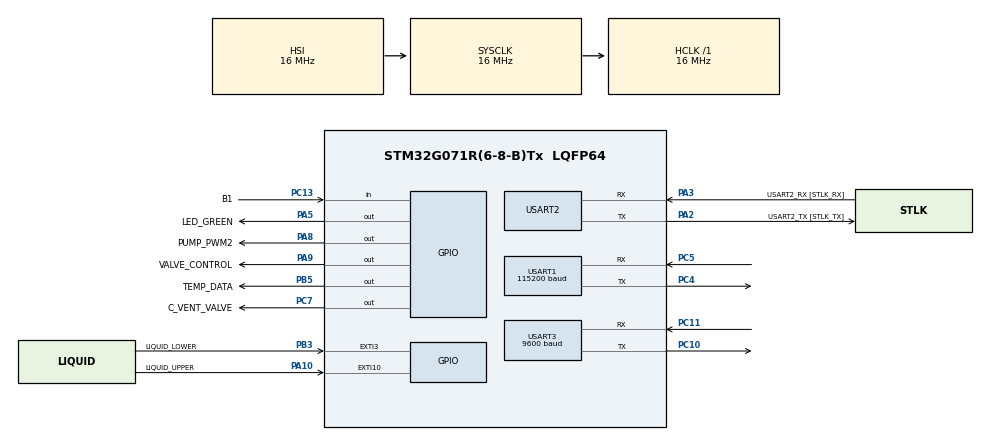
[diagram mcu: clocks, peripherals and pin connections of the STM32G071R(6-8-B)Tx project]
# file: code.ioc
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Mcu.Family=STM32G0
Mcu.Name=STM32G071R(6-8-B)Tx
Mcu.Package=LQFP64
NVIC.EXTI2_3_IRQn=true\:1\:0\:false\:false\:true\:true\:true\:true
NVIC.EXTI4_15_IRQn=true\:1\:0\:false\:false\:true\:true\:true\:true
NVIC.USART1_IRQn=true\:1\:0\:false\:false\:true\:true\:true\:true
NVIC.USART2_IRQn=true\:1\:0\:false\:false\:true\:true\:true\:true
NVIC.USART3_4_LPUART1_IRQn=true\:1\:0\:false\:false\:true\:true\:true\:true
PA13.GPIO_Label=TMS
PA13.Mode=Serial_Wire
PA13.Signal=SYS_SWDIO
PA14-BOOT0.GPIO_Label=TCK
PA14-BOOT0.Mode=Serial_Wire
PA14-BOOT0.Signal=SYS_SWCLK
PA2.GPIO_Label=USART2_TX [STLK_TX]
PA2.GPIO_PuPd=GPIO_PULLUP
PA2.Mode=Asynchronous
PA2.Signal=USART2_TX
PA3.GPIO_Label=USART2_RX [STLK_RX]
PA3.GPIO_PuPd=GPIO_PULLUP
PA3.Mode=Asynchronous
PA3.Signal=USART2_RX
PA5.GPIO_Label=LED_GREEN
PA5.GPIO_Speed=GPIO_SPEED_FREQ_HIGH
PA5.Signal=GPIO_Output
PA8.GPIO_Label=PUMP_PWM2
PA8.PinState=GPIO_PIN_RESET
PA8.Signal=GPIO_Output
PA9.GPIO_Label=VALVE_CONTROL
PA9.PinState=GPIO_PIN_RESET
PA9.Signal=GPIO_Output
PB5.GPIO_Label=TEMP_DATA
PB5.GPIO_ModeDefaultOutputPP=GPIO_MODE_OUTPUT_OD
PB5.GPIO_PuPd=GPIO_PULLUP
PB5.GPIO_Speed=GPIO_SPEED_FREQ_LOW
PB5.PinState=GPIO_PIN_SET
PB5.Signal=GPIO_Output
PC13.GPIO_Label=B1
PC13.GPIO_PuPd=GPIO_PULLUP
PC13.Signal=GPIO_Input
PC14-OSC32_IN\ (PC14).Mode=LSE-External-Oscillator
PC14-OSC32_IN\ (PC14).Signal=RCC_OSC32_IN
PC15-OSC32_OUT\ (PC15).Mode=LSE-External-Oscillator
PC15-OSC32_OUT\ (PC15).Signal=RCC_OSC32_OUT
PF0-OSC_IN\ (PF0).GPIO_Label=MCO
PF0-OSC_IN\ (PF0).Mode=HSE-External-Clock-Source
PF0-OSC_IN\ (PF0).Signal=RCC_OSC_IN
PC4.Mode=Asynchronous
PC4.Signal=USART1_TX
PC4.GPIO_PuPd=GPIO_PULLUP
PC5.Mode=Asynchronous
PC5.Signal=USART1_RX
PC5.GPIO_PuPd=GPIO_PULLUP
PC10.Mode=Asynchronous
PC10.Signal=USART3_TX
PC10.GPIO_PuPd=GPIO_PULLUP
PC11.Mode=Asynchronous
PC11.Signal=USART3_RX
PC11.GPIO_PuPd=GPIO_PULLUP
ProjectManager.HeapSize=0x200
ProjectManager.StackSize=0x400
ProjectManager.TargetToolchain=CMake
RCC.AHBFreq_Value=16000000
RCC.CortexFreq_Value=16000000
RCC.EXTERNAL_CLOCK_VALUE=12288000
RCC.HCLKFreq_Value=16000000
RCC.HSE_VALUE=8000000
RCC.HSI_VALUE=16000000
RCC.SYSCLKFreq_VALUE=16000000
RCC.VCOOutputFreq_Value=128000000
USART1.VirtualMode-Asynchronous=VM_ASYNC
USART1.BaudRate=115200
USART1.WordLength=WORDLENGTH_8B
USART1.StopBits=STOPBITS_1
USART1.Parity=PARITY_NONE
USART1.HwFlowCtl=HWCONTROL_NONE
USART2.VirtualMode-Asynchronous=VM_ASYNC
USART3.VirtualMode-Asynchronous=VM_ASYNC
USART3.BaudRate=9600
USART3.WordLength=WORDLENGTH_8B
USART3.StopBits=STOPBITS_1
USART3.Parity=PARITY_NONE
USART3.HwFlowCtl=HWCONTROL_NONE
board=NUCLEO-G071RB
PC7.GPIO_Label=C_VENT_VALVE
PC7.PinState=GPIO_PIN_RESET
PC7.Signal=GPIO_Output
PA10.GPIO_Label=LIQUID_UPPER
PA10.GPIO_PuPd=GPIO_PULLUP
PA10.GPIO_ModeDefaultEXTI=GPIO_MODE_IT_RISING_FALLING
PA10.Signal=GPXTI10
PB3.GPIO_Label=LIQUID_LOWER
PB3.GPIO_PuPd=GPIO_PULLUP
PB3.GPIO_ModeDefaultEXTI=GPIO_MODE_IT_RISING_FALLING
PB3.Signal=GPXTI3

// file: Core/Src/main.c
/* USER CODE BEGIN Header */
/**
 ******************************************************************************
 * @file           : main.c
 * @brief          : Main program body
 ******************************************************************************
 * @attention
 *
 * Copyright (c) 2026 STMicroelectronics.
 * All rights reserved.
 *
 * This software is licensed under terms that can be found in the LICENSE file
 * in the root directory of this software component.
 * If no LICENSE file comes with this software, it is provided AS-IS.
 *
 ******************************************************************************
 */
/* USER CODE END Header */
#include "main.h"
#include "gpio.h"
#include "usart.h"

/* USER CODE BEGIN Includes */
#include <stdio.h>
#include "esp_network.h"
#include "hmi_screen.h"
#include "liquid_measurement.h"
#ifdef HMI_SERIAL_BRIDGE
#include "hmi_serial_bridge.h"
#endif

/* USER CODE END Includes */

void SystemClock_Config(void);

/* USER CODE BEGIN 0 */
static LiquidMeasurement liquid;
static volatile uint8_t liquid_ready;

static void RecordLiquidEdge(uint16_t pin) {
  if (!liquid_ready) return;
  if (pin == LIQUID_UPPER_Pin)
    LiquidMeasurement_RecordEdge(&liquid, LIQUID_UPPER,
        HAL_GPIO_ReadPin(LIQUID_UPPER_GPIO_Port, pin) == GPIO_PIN_RESET, HAL_GetTick());
  else if (pin == LIQUID_LOWER_Pin)
    LiquidMeasurement_RecordEdge(&liquid, LIQUID_LOWER,
        HAL_GPIO_ReadPin(LIQUID_LOWER_GPIO_Port, pin) == GPIO_PIN_RESET, HAL_GetTick());
}

/* 上下沿同时挂起时读取真实电平，避免回调顺序留下错误的最终液位。 */
void HAL_GPIO_EXTI_Rising_Callback(uint16_t pin) { RecordLiquidEdge(pin); }
void HAL_GPIO_EXTI_Falling_Callback(uint16_t pin) { RecordLiquidEdge(pin); }

#if !defined(HMI_SERIAL_BRIDGE) && !defined(HMI_CONNECTION_TEST)
static void LiquidControl_Init(void) {
  const uint32_t interrupt_state = __get_PRIMASK();
  __disable_irq();
  LiquidMeasurement_Init(&liquid, HAL_GetTick(),
      HAL_GPIO_ReadPin(LIQUID_UPPER_GPIO_Port, LIQUID_UPPER_Pin) == GPIO_PIN_RESET,
      HAL_GPIO_ReadPin(LIQUID_LOWER_GPIO_Port, LIQUID_LOWER_Pin) == GPIO_PIN_RESET,
      HAL_GPIO_ReadPin(B1_GPIO_Port, B1_Pin) == GPIO_PIN_RESET);
  PumpValve_SetRunning(liquid.pump);
  liquid_ready = 1U;
  if (!interrupt_state) __enable_irq();
  HMI_Screen_SetMeasurement(liquid.stage, liquid.error, liquid.result_valid, liquid.result_ms);
  HMI_Screen_SetLiquidStatus(liquid.levels[0].stable, liquid.levels[1].stable,
                            liquid.upper_triggered, liquid.lower_triggered);
  ESP_Network_SetMeasurement(&liquid);
  char message[64];
  const int length = snprintf(message, sizeof(message), "Liquid: ready; upper=%u lower=%u\r\n",
                               liquid.levels[0].stable, liquid.levels[1].stable);
  if (length > 0) HAL_UART_Transmit(&huart2, (const uint8_t *)message, (uint16_t)length, 20U);
}

static void LiquidControl_Poll(void) {
  const LiquidStage previous_stage = liquid.stage;
  const LiquidError previous_error = liquid.error;
  const uint8_t previous_upper = liquid.levels[0].stable;
  const uint8_t previous_lower = liquid.levels[1].stable;
  const uint32_t interrupt_state = __get_PRIMASK();
  /* 时间快照与队列消费保持一致，防止新边沿时间晚于本轮 now。 */
  __disable_irq();
  const uint32_t now = HAL_GetTick();
  /* 先响应中止，避免按键恰好在完成时被解释为启动下一轮。 */
  LiquidMeasurement_Control(&liquid,
      HAL_GPIO_ReadPin(B1_GPIO_Port, B1_Pin) == GPIO_PIN_RESET,
      HMI_Screen_TakeRequests(), now);
  LiquidMeasurement_Poll(&liquid, now);
  /* 先落实泵阀状态，再进行串口、屏幕及网络处理。 */
  PumpValve_SetRunning(liquid.pump);
  HAL_GPIO_WritePin(LED_GREEN_GPIO_Port, LED_GREEN_Pin,
                    liquid.pump ? GPIO_PIN_SET : GPIO_PIN_RESET);
  if (!interrupt_state) __enable_irq();
  ESP_Network_SetMeasurementActive(LiquidMeasurement_IsActive(&liquid));
  static uint32_t last_timer_display;
  const uint8_t changed = previous_stage != liquid.stage || previous_error != liquid.error ||
      previous_upper != liquid.levels[0].stable || previous_lower != liquid.levels[1].stable;
  if (changed) {
    ESP_Network_SetMeasurement(&liquid);
    HMI_Screen_SetLiquidStatus(liquid.levels[0].stable, liquid.levels[1].stable,
                              liquid.upper_triggered, liquid.lower_triggered);
  }
  if (changed || (liquid.stage == LIQUID_TIMING && now - last_timer_display >= 500U)) {
    ESP_Network_SetPump(liquid.pump);
    HMI_Screen_SetPump(liquid.pump);
    HMI_Screen_SetMeasurement(liquid.stage, liquid.error, liquid.result_valid,
        liquid.stage == LIQUID_TIMING ? now - liquid.start_time : liquid.result_ms);
    last_timer_display = now;
  }
  if (previous_stage != liquid.stage || previous_error != liquid.error ||
      previous_upper != liquid.levels[0].stable || previous_lower != liquid.levels[1].stable) {
    static const char *const stages[] = {
      "idle", "suction", "extra_suction", "draining", "timing", "complete", "aborted", "fault"
    };
    static const char *const errors[] = {
      "none", "upper_wet", "invalid_order", "edge_overflow", "suction_timeout",
      "upper_timeout", "lower_timeout", "unstable_input"
    };
    char message[160];
    const int length = snprintf(message, sizeof(message),
        "Liquid: %s; upper=%u lower=%u; error=%s; result=%s%lu.%03lu s\r\n",
        stages[liquid.stage], liquid.levels[0].stable, liquid.levels[1].stable,
        errors[liquid.error], liquid.result_valid ? "" : "invalid:",
        (unsigned long)(liquid.result_ms / 1000U), (unsigned long)(liquid.result_ms % 1000U));
    if (length > 0) HAL_UART_Transmit(&huart2, (const uint8_t *)message,
                                     (uint16_t)length, 20U);
  }
}
#endif

/* 使用 TIM3 生成稳定的 1 MHz 微秒计时，不占用 GPIO 引脚。 */
static void MicrosecondTimer_Init(void) {
  __HAL_RCC_TIM3_CLK_ENABLE();
  TIM3->PSC = (HAL_RCC_GetPCLK1Freq() / 1000000U) - 1U;
  TIM3->ARR = 0xFFFFU;
  TIM3->EGR = TIM_EGR_UG;
  TIM3->CR1 = TIM_CR1_CEN;
}

static void DelayUs(uint32_t microseconds) {
  const uint16_t start = (uint16_t)TIM3->CNT;

  while ((uint16_t)((uint16_t)TIM3->CNT - start) < microseconds) {
  }
}

static uint8_t DS18B20_Reset(void) {
  const uint32_t interrupt_state = __get_PRIMASK();
  uint8_t detected;

  __disable_irq();
  TEMP_DATA_GPIO_Port->BSRR = (uint32_t)TEMP_DATA_Pin << 16U;
  DelayUs(500);
  TEMP_DATA_GPIO_Port->BSRR = TEMP_DATA_Pin;
  DelayUs(65);
  detected = ((TEMP_DATA_GPIO_Port->IDR & TEMP_DATA_Pin) == 0U);
  if (interrupt_state == 0U) {
    __enable_irq();
  }
  /* 恢复等待允许串口中断，复位采样时序仍保持不变。 */
  DelayUs(430);

  return detected;
}

static void DS18B20_WriteBit(uint8_t bit) {
  const uint32_t interrupt_state = __get_PRIMASK();

  __disable_irq();
  TEMP_DATA_GPIO_Port->BSRR = (uint32_t)TEMP_DATA_Pin << 16U;
  if (bit != 0U) {
    DelayUs(6);
    TEMP_DATA_GPIO_Port->BSRR = TEMP_DATA_Pin;
    DelayUs(64);
  } else {
    DelayUs(60);
    TEMP_DATA_GPIO_Port->BSRR = TEMP_DATA_Pin;
    DelayUs(10);
  }
  if (interrupt_state == 0U) {
    __enable_irq();
  }
}

static uint8_t DS18B20_ReadBit(void) {
  const uint32_t interrupt_state = __get_PRIMASK();
  uint8_t bit;

  __disable_irq();
  TEMP_DATA_GPIO_Port->BSRR = (uint32_t)TEMP_DATA_Pin << 16U;
  DelayUs(3);
  TEMP_DATA_GPIO_Port->BSRR = TEMP_DATA_Pin;
  DelayUs(10);
  bit = ((TEMP_DATA_GPIO_Port->IDR & TEMP_DATA_Pin) != 0U);
  DelayUs(53);
  if (interrupt_state == 0U) {
    __enable_irq();
  }

  return bit;
}

static void DS18B20_WriteByte(uint8_t data) {
  for (uint8_t bit = 0U; bit < 8U; ++bit) {
    DS18B20_WriteBit(data & 0x01U);
    data >>= 1U;
  }
}

static uint8_t DS18B20_ReadByte(void) {
  uint8_t data = 0U;

  for (uint8_t bit = 0U; bit < 8U; ++bit) {
    data |= (uint8_t)(DS18B20_ReadBit() << bit);
  }

  return data;
}

static uint8_t DS18B20_CalculateCrc(const uint8_t *data, uint8_t length) {
  uint8_t crc = 0U;

  for (uint8_t index = 0U; index < length; ++index) {
    uint8_t value = data[index];
    for (uint8_t bit = 0U; bit < 8U; ++bit) {
      const uint8_t mix = (crc ^ value) & 0x01U;
      crc >>= 1U;
      if (mix != 0U) {
        crc ^= 0x8CU;
      }
      value >>= 1U;
    }
  }

  return crc;
}

static uint8_t DS18B20_StartConversion(void) {
  if (DS18B20_Reset() == 0U) return 1U;
  DS18B20_WriteByte(0xCCU);
  DS18B20_WriteByte(0x44U);
  return 0U;
}

static uint8_t DS18B20_ReadTemperature(int16_t *raw_temperature) {
  uint8_t scratchpad[9];
  uint8_t all_zero = 1U;

  if (DS18B20_Reset() == 0U) {
    return 1U;
  }

  DS18B20_WriteByte(0xCCU);
  DS18B20_WriteByte(0xBEU);
  for (uint8_t index = 0U; index < sizeof(scratchpad); ++index) {
    scratchpad[index] = DS18B20_ReadByte();
    if (scratchpad[index] != 0U) {
      all_zero = 0U;
    }
  }

  if ((all_zero != 0U) ||
      (DS18B20_CalculateCrc(scratchpad, 8U) != scratchpad[8])) {
    return 2U;
  }

  *raw_temperature =
      (int16_t)(((uint16_t)scratchpad[1] << 8U) | scratchpad[0]);
  return 0U;
}

/* USER CODE END 0 */

int main(void) {

  /* MCU Configuration--------------------------------------------------------*/

  /* Reset of all peripherals, Initializes the Flash interface and the Systick.
   */
  HAL_Init();

  /* Configure the system clock */
  SystemClock_Config();

  /* Initialize all configured peripherals */
  MX_GPIO_Init();
  MX_USART2_UART_Init();
  MX_USART1_UART_Init();
  MX_USART3_UART_Init();
  /* USER CODE BEGIN 2 */
#ifdef HMI_SERIAL_BRIDGE
  /* 下载期间泵阀关闭，不进入采温、联网、按键控制或日志输出。 */
  HMI_Bridge_Init();
  while (1) HMI_Bridge_Poll();
#endif
#ifdef HMI_CONNECTION_TEST
  /* 专用接线测试不进入采温、联网和 B1 控制，GPIO 初始化已关闭泵阀。 */
  HMI_Screen_Init();
  while (1) {
    HMI_Screen_Poll();
    HAL_Delay(1);
  }
#endif
  MicrosecondTimer_Init();
  static const uint8_t startup_message[] =
      "STM32G071RB ready.\r\nDS18B20 temperature test.\r\n";
  static const uint8_t sensor_missing_message[] =
      "DS18B20 not found. Check wiring or add 4.7k pull-up.\r\n";
  static const uint8_t sensor_crc_message[] =
      "DS18B20 data error. Add 4.7k pull-up.\r\n";
  uint32_t last_temperature_time = 0U;
  uint8_t conversion_pending = 0U;
  uint8_t conversion_status = 0U;
  uint32_t conversion_time = 0U;

  HAL_UART_Transmit(&huart2, startup_message, sizeof(startup_message) - 1U,
                    HAL_MAX_DELAY);
  HAL_Delay(100);
  ESP_Network_Init();
  HMI_Screen_Init();
#if !defined(HMI_SERIAL_BRIDGE) && !defined(HMI_CONNECTION_TEST)
  LiquidControl_Init();
#endif
  /* USER CODE END 2 */

  /* Infinite loop */
  while (1) {

    /* USER CODE BEGIN 3 */
#if !defined(HMI_SERIAL_BRIDGE) && !defined(HMI_CONNECTION_TEST)
    LiquidControl_Poll();
#endif
    ESP_Network_Poll();
#if !defined(HMI_SERIAL_BRIDGE) && !defined(HMI_CONNECTION_TEST)
    LiquidControl_Poll();
#endif
    HMI_Screen_Poll();
    if (!conversion_pending && HAL_GetTick() - last_temperature_time >= 1000U) {
      conversion_status = DS18B20_StartConversion();
      conversion_time = HAL_GetTick();
      last_temperature_time = conversion_time;
      conversion_pending = 1U;
    }
    if (conversion_pending && (conversion_status != 0U ||
        HAL_GetTick() - conversion_time >= 750U)) {
      int16_t raw_temperature;
      const uint8_t sensor_status =
          conversion_status != 0U ? conversion_status : DS18B20_ReadTemperature(&raw_temperature);
      conversion_pending = 0U;

      ESP_Network_SetTemperature(sensor_status,
          sensor_status == 0U ? ((int32_t)raw_temperature * 100) / 16 : 0);
      HMI_Screen_SetTemperature(sensor_status,
          sensor_status == 0U ? ((int32_t)raw_temperature * 100) / 16 : 0);
      if (sensor_status == 0U) {
        char temperature_message[40];
        const int32_t temperature_centi =
            ((int32_t)raw_temperature * 100) / 16;
        const int32_t absolute_temperature =
            (temperature_centi < 0) ? -temperature_centi : temperature_centi;
        const int length = snprintf(
            temperature_message, sizeof(temperature_message),
            "Temperature: %s%ld.%02ld C\r\n",
            (temperature_centi < 0) ? "-" : "",
            (long)(absolute_temperature / 100),
            (long)(absolute_temperature % 100));

        if (length > 0) {
          HAL_UART_Transmit(&huart2, (const uint8_t *)temperature_message,
                            (uint16_t)length, HAL_MAX_DELAY);
        }
      } else if (sensor_status == 1U) {
        HAL_UART_Transmit(&huart2, sensor_missing_message,
                          sizeof(sensor_missing_message) - 1U, HAL_MAX_DELAY);
      } else {
        HAL_UART_Transmit(&huart2, sensor_crc_message,
                          sizeof(sensor_crc_message) - 1U, HAL_MAX_DELAY);
      }
    }
#if !defined(HMI_SERIAL_BRIDGE) && !defined(HMI_CONNECTION_TEST)
    ESP_Network_PollUsbTelemetry();
#endif
  }
  /* USER CODE END 3 */
}

void SystemClock_Config(void) {
  RCC_OscInitTypeDef RCC_OscInitStruct = {0};
  RCC_ClkInitTypeDef RCC_ClkInitStruct = {0};

  /** Configure the main internal regulator output voltage
   */
  HAL_PWREx_ControlVoltageScaling(PWR_REGULATOR_VOLTAGE_SCALE1);

  /** Initializes the RCC Oscillators according to the specified parameters
   * in the RCC_OscInitTypeDef structure.
   */
  RCC_OscInitStruct.OscillatorType = RCC_OSCILLATORTYPE_HSI;
  RCC_OscInitStruct.HSIState = RCC_HSI_ON;
  RCC_OscInitStruct.HSIDiv = RCC_HSI_DIV1;
  RCC_OscInitStruct.HSICalibrationValue = RCC_HSICALIBRATION_DEFAULT;
  RCC_OscInitStruct.PLL.PLLState = RCC_PLL_NONE;
  if (HAL_RCC_OscConfig(&RCC_OscInitStruct) != HAL_OK) {
    Error_Handler();
  }

  /** Initializes the CPU, AHB and APB buses clocks
   */
  RCC_ClkInitStruct.ClockType =
      RCC_CLOCKTYPE_HCLK | RCC_CLOCKTYPE_SYSCLK | RCC_CLOCKTYPE_PCLK1;
  RCC_ClkInitStruct.SYSCLKSource = RCC_SYSCLKSOURCE_HSI;
  RCC_ClkInitStruct.AHBCLKDivider = RCC_SYSCLK_DIV1;
  RCC_ClkInitStruct.APB1CLKDivider = RCC_HCLK_DIV1;

  if (HAL_RCC_ClockConfig(&RCC_ClkInitStruct, FLASH_LATENCY_0) != HAL_OK) {
    Error_Handler();
  }
}

void Error_Handler(void) {
  __disable_irq();
  while (1) {
  }
}
#ifdef USE_FULL_ASSERT
/**
 * @brief  Reports the name of the source file and the source line number
 *         where the assert_param error has occurred.
 * @param  file: pointer to the source file name
 * @param  line: assert_param error line source number
 * @retval None
 */
void assert_failed(uint8_t *file, uint32_t line) {
  /* USER CODE BEGIN 6 */
  /* User can add his own implementation to report the file name and line
     number, ex: printf("Wrong parameters value: file %s on line %d\r\n", file,
     line) */
  /* USER CODE END 6 */
}
#endif /* USE_FULL_ASSERT */
